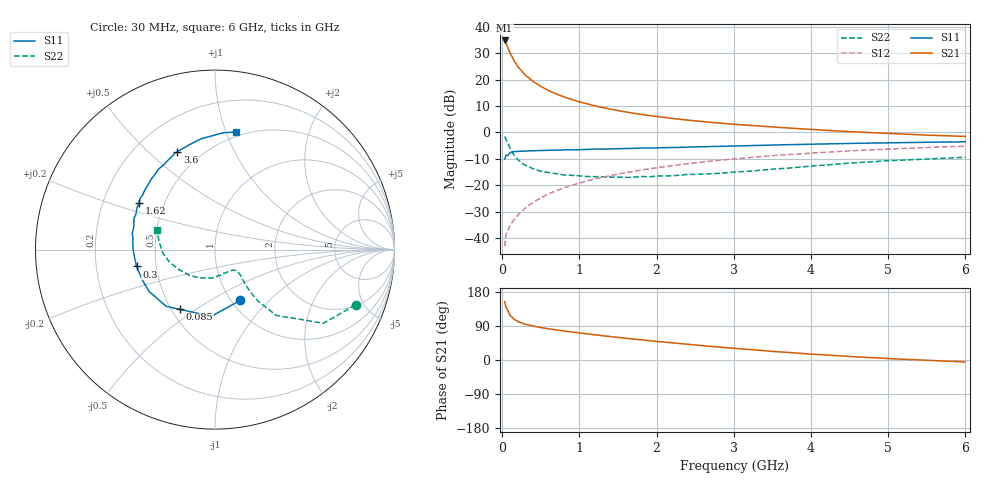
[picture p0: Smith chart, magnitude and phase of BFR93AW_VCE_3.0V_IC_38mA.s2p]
! Infineon Technologies  Discrete & RF Semiconductors
! BFR93AW
! VCE =  3.0 V,  IC =  38 mA
! Common Emitter S-Parameters:  Nov 2015
# GHz  S  MA  R  50
!  f  S11  S21  S12  S22
! GHz  MAG  ANG  MAG  ANG  MAG  ANG  MAG  ANG
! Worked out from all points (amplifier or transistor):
!   206 points, 30 MHz to 6 GHz, reference 50 ohm
!   highest |S21| = 34.9 dB at 30 MHz (marker M1)
!   |S21| within 3 dB of that: start of sweep to 76.34 MHz
!   unconditionally stable (mu >= 1): 386.4 MHz to 2.213 GHz
!   at 200 MHz: K = 0.87, MSG = 28.2 dB, |S12| = -31.4 dB
!   at 1.56 GHz: K = 1.04, MAG = 10.5 dB, |S12| = -15.5 dB
!   at 6 GHz: K = 0.93, MSG = 1.8 dB, |S12| = -5.2 dB
!   S11 on the Smith chart (normalised r, x): 30 MHz: 1.10, -0.69; 85 MHz: 0.55, -0.43; 300 MHz: 0.39, -0.09; 1.62 GHz: 0.36, +0.25; 3.6 GHz: 0.37, +0.62; 6 GHz: 0.46, +1.08
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0.03  0.316 -63.8  55.47 153.7  0.007 71.8  0.8417 -21.5
0.05  0.3722 -93.1  48.42 137.7  0.0116 66.9  0.7302 -34.2
0.085  0.3863 -120.5  36.52 125.4  0.0155 64.1  0.5655 -42.1
0.1  0.4168 -130.7  32.21 117.5  0.0172 63.3  0.4997 -47.1
0.15  0.4348 -147.5  23.06 107.7  0.0221 64.6  0.3748 -50.1
0.2  0.4386 -156.9  17.86 101.6  0.0269 66.7  0.3075 -50.2
0.24  0.4409 -162.4  15.14 98.4  0.0308 68.6  0.2729 -49.3
0.26  0.4429 -164.5  14.01 96.8  0.0329 69.4  0.2592 -48.9
0.3  0.447 -167.9  12.17 94.2  0.0371 70.9  0.2394 -48.0
0.4  0.4512 -175.2  9.217 89.4  0.0471 72.4  0.2046 -45.3
0.5  0.4563 180.0  7.437 85.5  0.0576 73.6  0.1839 -44.4
0.6  0.4596 176.2  6.223 82.3  0.0688 73.7  0.1735 -43.9
0.8  0.4691 169.3  4.706 76.4  0.0892 73.6  0.1565 -46.9
1.04  0.4744 162.3  3.666 70.3  0.1143 72.4  0.1489 -51.4
1.3  0.4823 156.2  2.967 64.1  0.142 70.6  0.1448 -57.8
1.62  0.4962 148.7  2.421 57.0  0.1751 68.2  0.1406 -69.9
2.02  0.5123 140.1  1.989 48.6  0.2166 64.6  0.1496 -85.0
3.1  0.5571 119.4  1.398 29.3  0.3248 53.7  0.1804 -120.3
3.6  0.5839 111.1  1.244 21.4  0.3724 48.3  0.2059 -138.1
4.1  0.6026 103.2  1.12 14.4  0.4154 42.7  0.2361 -154.5
5.1  0.6387 90.1  0.945 2.8  0.4917 31.8  0.2953 -178.8
6  0.6652 79.9  0.842 -5.1  0.5519 22.6  0.3394 161.7
